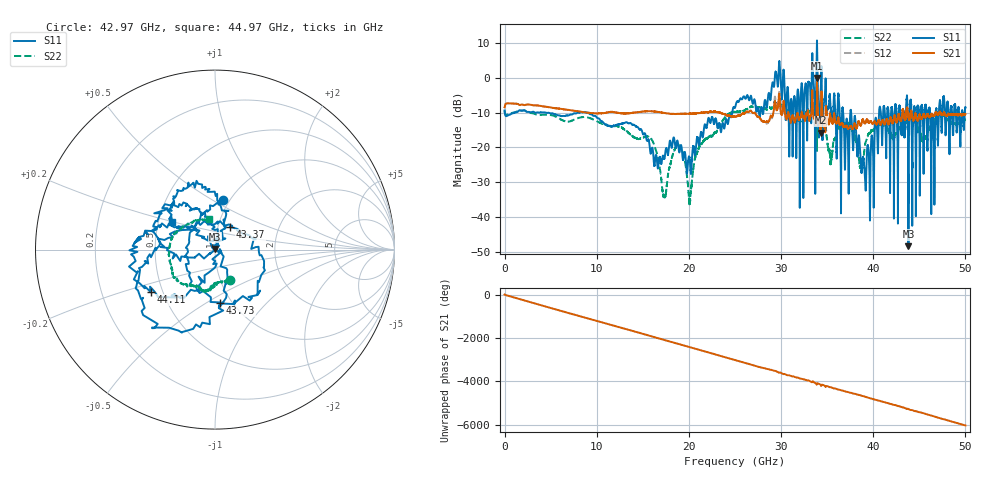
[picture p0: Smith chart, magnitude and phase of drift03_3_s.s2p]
!Created with skrf (http://scikit-rf.org).
# Hz S RI R 50.0
!freq ReS11 ImS11 ReS21 ImS21 ReS12 ImS12 ReS22 ImS22
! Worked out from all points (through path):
!   10001 points, 300 kHz to 50 GHz, reference 50 ohm
!   highest |S21| = -0.02 dB at 33.9 GHz (marker M1); lowest = -15.8 dB at 34.32 GHz (marker M2)
!   group delay of S21, straight-line fit = 335 ps
!   lowest |S11| = -48.4 dB at 43.82 GHz (marker M3), VSWR 1.01, Z = 50.1 + j0.36 ohm
!   |S11| at or under -10 dB: 4.478 GHz to 7.928 GHz (3.45 GHz wide, 55.6 % of centre); 9.006 GHz to 24.7 GHz (15.69 GHz wide, 93.1 % of centre); 37.61 GHz to 40.63 GHz (3.025 GHz wide, 7.73 % of centre) (the widest 3 of 65)
!   |S22| runs from -36.5 to -6.0 dB; largest |S21 - S12| = 0.11
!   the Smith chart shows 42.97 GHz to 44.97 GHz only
!   S11 on the Smith chart (normalised r, x): 42.97 GHz: 0.93, +0.56; 43.37 GHz: 1.14, +0.30; 43.73 GHz: 0.88, -0.58; 44.11 GHz: 0.43, -0.25; 44.97 GHz: 0.59, +0.20
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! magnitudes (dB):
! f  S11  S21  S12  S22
! 300 kHz  -9.4  -8.4  -8.5  -9.3
! 8.335 GHz  -9.8  -9.8  -9.8  -11.4
! 16.67 GHz  -25.6  -9.8  -9.8  -23.6
! 17.35 GHz  -23.1  -10.1  -10.1  -33.9
! 19.03 GHz  -20.6  -10.3  -10.4  -19.8
! 20.11 GHz  -23.7  -10.3  -10.3  -34.9
! 25 GHz  -8.6  -11.1  -11.1  -9.8
! 31.08 GHz  -6.1  -12.7  -12.7  -10.5
! 33.34 GHz  0.0  -7.8  -7.9  -9.5
! 33.9 GHz  10.4  0.0  -0.4  -18.5
! 34.32 GHz  -2.9  -15.8  -15.0  -11.4
! 35.33 GHz  -6.9  -10.5  -10.1  -23.8
! 36.95 GHz  -24.7  -14.0  -14.0  -13.8
! 38.99 GHz  -24.4  -12.6  -12.7  -22.0
! 41.67 GHz  -10.1  -13.4  -13.3  -14.8
! 42.97 GHz  -11.1  -12.4  -12.4  -14.6
! 43.37 GHz  -16.4  -11.6  -11.6  -13.5
! 43.73 GHz  -10.5  -9.9  -9.7  -12.5
! 43.82 GHz  -48.4  -11.3  -11.4  -11.8
! 44.11 GHz  -7.3  -9.5  -9.6  -11.5
! 44.97 GHz  -10.9  -11.1  -11.1  -15.3
! 50 GHz  -8.5  -10.4  -10.5  -12.2
